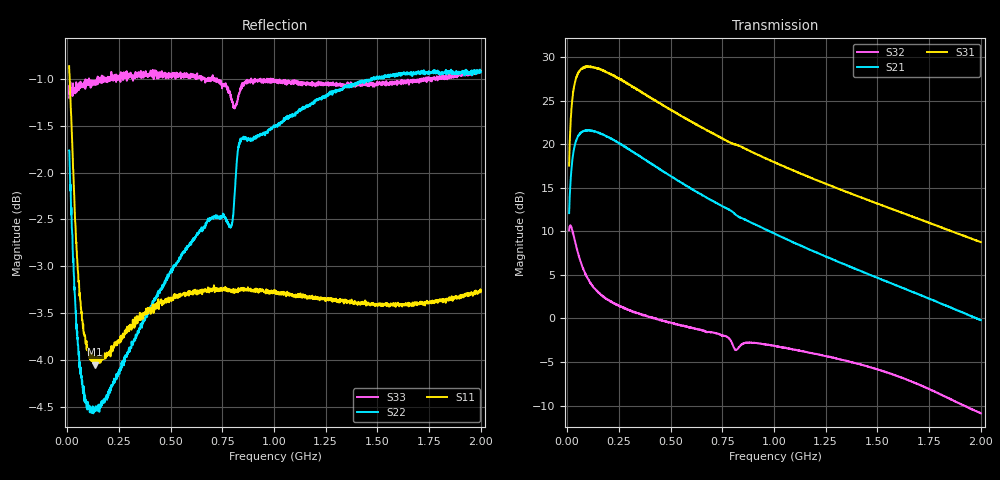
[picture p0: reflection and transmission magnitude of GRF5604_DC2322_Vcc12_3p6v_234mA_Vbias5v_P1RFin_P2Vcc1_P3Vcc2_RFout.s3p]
!Keysight Technologies,N5244B,MY57181157,A.18.40.03
!Date: Wednesday, September 10, 2025 10:39:32
!Correction: S11(C  3-Port  )
!S12(C  3-Port  )
!S13(C  3-Port  )
!S21(C  3-Port  )
!S22(C  3-Port  )
!S23(C  3-Port  )
!S31(C  3-Port  )
!S32(C  3-Port  )
!S33(C  3-Port  )
!S3P File: Measurements: <S11,S12,S13>,
!<S21,S22,S23>,
!<S31,S32,S33>:
# Hz S  RI  R 50
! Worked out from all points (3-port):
!   1991 points, 10 MHz to 2 GHz, reference 50 ohm
!   strongest paths, dB at 10 MHz, 507 MHz, 1.005 GHz, 1.503 GHz, 2 GHz:
!     S31: 17.6, 23.9, 17.9, 13.2, 8.8
!     S21: 12.1, 16.3, 9.7, 4.6, -0.2
!     S32: 10.1, -0.6, -3.2, -5.9, -10.9
!   lowest |S11| = -4.0 dB at 136 MHz (marker M1), VSWR 4.37, Z = 40.8 - j72.3 ohm
!   |S11| at or under -10 dB: nowhere
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1e7  0.89 -0.1645  0.0405 -0.0115  0.00037 -0.000522
     -1.71 -3.648  0.7121 -0.3988  0.00462 -0.00979
     -1.181 7.456  -3.015 -1.101  -0.3177 -0.8108
3e7  0.725 -0.3315  0.0272 -0.0188  6.21e-05 -1.03e-05
     -6.926 -5.542  0.2226 -0.6796  0.00143 0.000344
     12.56 15.53  -2.904 0.9558  -0.7887 -0.3874
6e7  0.5494 -0.4051  0.0145 -0.0154  -9.56e-05 0.000292
     -11.06 -2.666  -0.2041 -0.591  0.00344 0.00292
     24.85 8.805  -1.843 1.241  -0.8605 -0.2102
9.2e7  0.4449 -0.4658  0.00982 -0.011  0.000141 0.000147
       -12.02 0.5154  -0.3722 -0.4686  0.005 0.00363
       27.84 0.5631  -1.387 1.089  -0.872 -0.1461
1.36e8  0.3257 -0.5363  0.00796 -0.00684  0.00022 7.31e-05
        -11.23 3.671  -0.4676 -0.3641  0.00625 0.00456
        26.5 -7.756  -1.132 0.9492  -0.8832 -0.1047
2.65e8  0.00414 -0.6489  0.0083 -0.00193  5.63e-05 0.00038
        -6.553 7.483  -0.5797 -0.24  0.0091 0.00512
        15.21 -17.71  -0.8215 0.8241  -0.8903 -0.0629
4.91e8  -0.3408 -0.5883  0.01 -0.000558  -0.00039 0.000891
        -1.003 6.6  -0.6838 -0.1453  0.0109 0.00509
        1.334 -16.06  -0.5142 0.8014  -0.8966 -0.0454
7.02e8  -0.4871 -0.4845  0.0103 -0.000209  -0.000251 0.00146
        0.9376 4.648  -0.7482 -0.0799  0.012 0.00649
        -3.606 -10.99  -0.2776 0.7844  -0.8892 -0.0313
1.005e9  -0.5864 -0.3589  0.00952 -0.0012  -0.000602 0.00209
         1.632 2.599  -0.841 0.00253  0.00874 0.00201
         -5.495 -5.658  -0.0493 0.6937  -0.8892 -0.0206
2e9  -0.6859 0.0407  0.00862 0.0019  0.000539 0.00471
     0.9602 0.1798  -0.8054 0.3996  0.01 0.00987
     -2.619 0.8195  0.213 0.1896  -0.8869 0.1471
